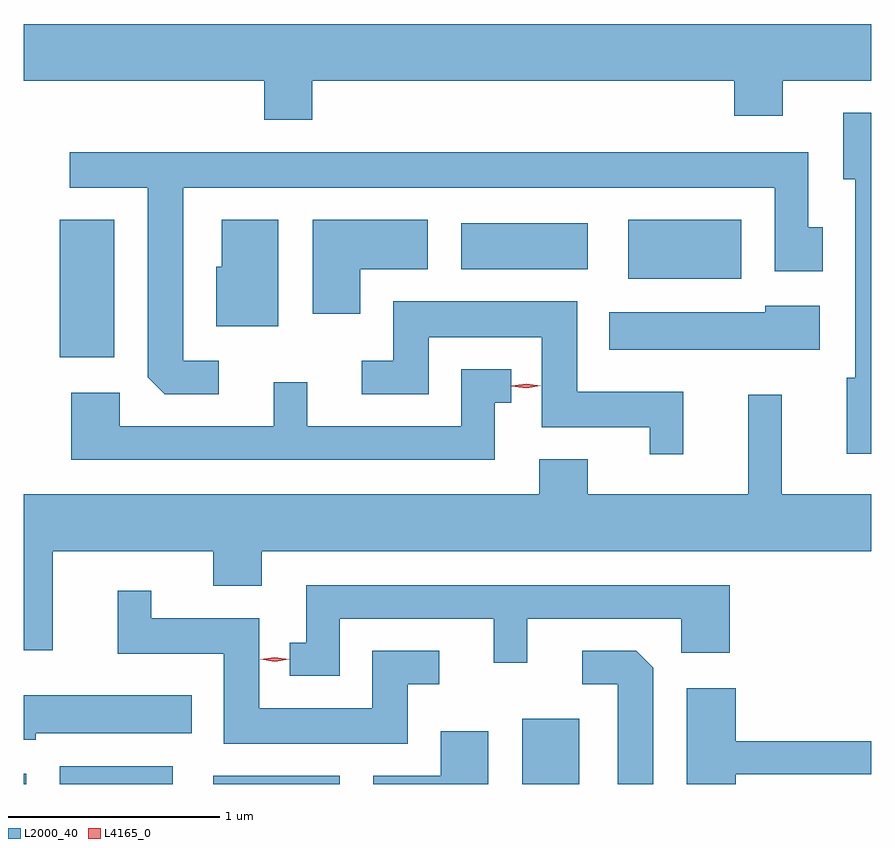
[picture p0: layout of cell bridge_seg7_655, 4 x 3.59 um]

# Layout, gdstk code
import gdstk
lib = gdstk.Library(unit=1e-6, precision=1e-09)
def R(c, l, rs):  # rectangles x0, y0, x1, y1
    for r in rs: c.add(gdstk.rectangle(r[:2], r[2:], *l))
def P(c, l, *ps):  # polygons
    for p in ps: c.add(gdstk.Polygon(p, *l))
L2000_40 = (2000, 40)
L4165_0 = (4165, 0)

bridge_seg7_655 = lib.new_cell('bridge_seg7_655')
R(bridge_seg7_655, L2000_40, [(828.557,1722.096,828.569,1722.144), (828.726,1722.096,829.259,1722.179), (829.451,1722.096,830.049,1722.134), (830.911,1722.096,831.179,1722.404), (828.726,1724.111,828.984,1724.759), (831.411,1724.481,831.944,1724.759), (830.621,1724.526,831.219,1724.744)])
P(bridge_seg7_655, L2000_40, [(829.919,1725.416),(831.911,1725.416),(831.911,1725.251),(832.139,1725.251),(832.139,1725.416),(832.557,1725.416),(832.557,1725.684),(828.557,1725.684),(828.557,1725.416),(829.691,1725.416),(829.691,1725.231),(829.919,1725.231)],
  [(832.557,1725.264),(832.426,1725.264),(832.426,1724.951),(832.481,1724.951),(832.481,1724.014),(832.441,1724.014),(832.441,1723.656),(832.557,1723.656)],
  [(829.478,1724.094),(829.309,1724.094),(829.309,1724.911),(832.101,1724.911),(832.101,1724.516),(832.329,1724.516),(832.329,1724.724),(832.259,1724.724),(832.259,1725.079),(828.773,1725.079),(828.773,1724.911),(829.141,1724.911),(829.141,1724.017),(829.222,1723.936),(829.478,1723.936)],
  [(829.759,1724.759),(829.491,1724.759),(829.491,1724.539),(829.466,1724.539),(829.466,1724.256),(829.759,1724.256)],
  [(830.144,1724.526),(830.464,1724.526),(830.464,1724.759),(829.921,1724.759),(829.921,1724.316),(830.144,1724.316)],
  [(831.669,1723.949),(831.169,1723.949),(831.169,1724.374),(830.301,1724.374),(830.301,1724.094),(830.153,1724.094),(830.153,1723.936),(830.469,1723.936),(830.469,1724.206),(831.001,1724.206),(831.001,1723.781),(831.511,1723.781),(831.511,1723.653),(831.669,1723.653)],
  [(832.314,1724.354),(832.056,1724.354),(832.056,1724.324),(831.321,1724.324),(831.321,1724.146),(832.314,1724.146)],
  [(830.779,1723.896),(830.858,1723.896),(830.858,1724.054),(830.621,1724.054),(830.621,1723.784),(829.894,1723.784),(829.894,1723.993),(829.736,1723.993),(829.736,1723.784),(829.009,1723.784),(829.009,1723.944),(828.781,1723.944),(828.781,1723.626),(830.779,1723.626)],
  [(828.694,1723.196),(829.451,1723.196),(829.451,1723.031),(829.679,1723.031),(829.679,1723.196),(832.557,1723.196),(832.557,1723.464),(832.134,1723.464),(832.134,1723.933),(831.976,1723.933),(831.976,1723.464),(831.219,1723.464),(831.219,1723.629),(830.991,1723.629),(830.991,1723.464),(828.557,1723.464),(828.557,1722.728),(828.694,1722.728)],
  [(830.049,1722.876),(830.776,1722.876),(830.776,1722.668),(830.934,1722.668),(830.934,1722.876),(831.661,1722.876),(831.661,1722.716),(831.889,1722.716),(831.889,1723.034),(829.891,1723.034),(829.891,1722.764),(829.813,1722.764),(829.813,1722.606),(830.049,1722.606)],
  [(830.369,1722.566),(830.518,1722.566),(830.518,1722.724),(830.201,1722.724),(830.201,1722.454),(829.669,1722.454),(829.669,1722.879),(829.159,1722.879),(829.159,1723.008),(829.001,1723.008),(829.001,1722.711),(829.501,1722.711),(829.501,1722.286),(830.369,1722.286)],
  [(831.529,1722.644),(831.449,1722.724),(831.193,1722.724),(831.193,1722.566),(831.361,1722.566),(831.361,1722.096),(831.529,1722.096)],
  [(831.919,1722.141),(832.557,1722.141),(832.557,1722.299),(831.919,1722.299),(831.919,1722.549),(831.686,1722.549),(831.686,1722.096),(831.919,1722.096)],
  [(828.614,1722.336),(829.349,1722.336),(829.349,1722.514),(828.557,1722.514),(828.557,1722.306),(828.614,1722.306)],
  [(830.749,1722.344),(830.526,1722.344),(830.526,1722.134),(830.206,1722.134),(830.206,1722.096),(830.749,1722.096)])
P(bridge_seg7_655, L4165_0, [(829.741,1722.674),(829.672,1722.684),(829.672,1722.684),(829.672,1722.684),(829.741,1722.694),(829.811,1722.685),(829.811,1722.685),(829.811,1722.684)],
  [(830.928,1723.965),(830.859,1723.974),(830.859,1723.975),(830.859,1723.975),(830.928,1723.985),(830.998,1723.976),(830.998,1723.976),(830.998,1723.975)])

lib.write_gds('bridge_seg7_655.gds')
